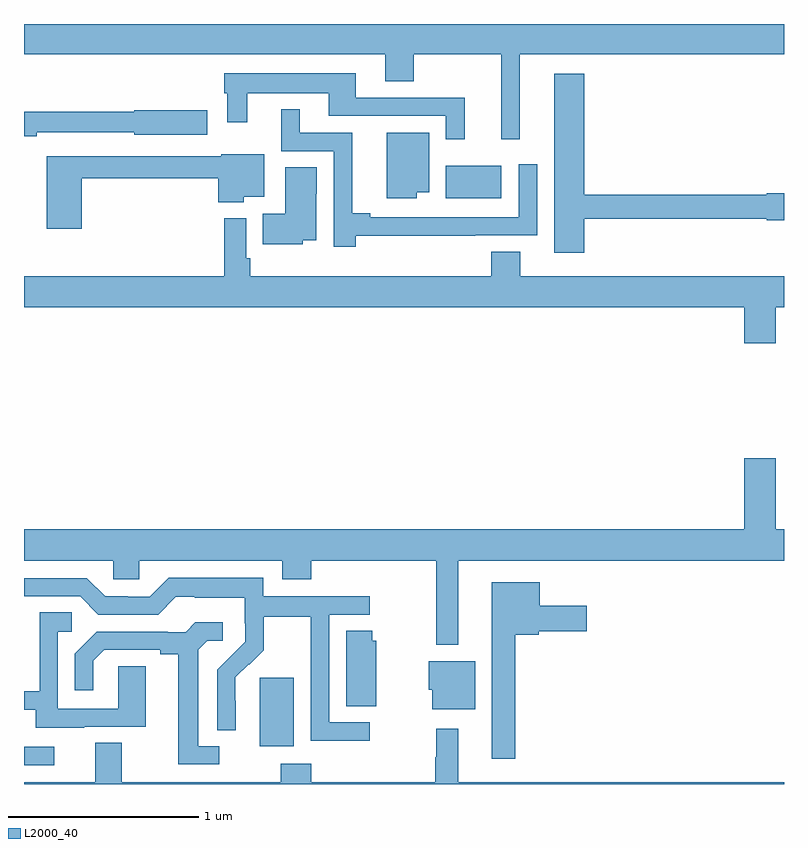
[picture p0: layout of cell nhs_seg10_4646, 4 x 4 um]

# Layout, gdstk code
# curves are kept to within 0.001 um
import gdstk
lib = gdstk.Library(unit=1e-6, precision=1e-09)
def R(c, l, rs):  # rectangles x0, y0, x1, y1
    for r in rs: c.add(gdstk.rectangle(r[:2], r[2:], *l))
def P(c, l, *ps):  # polygons
    for p in ps: c.add(gdstk.Polygon(p, *l))
L2000_40 = (2000, 40)

nhs_seg10_4646 = lib.new_cell('nhs_seg10_4646')
R(nhs_seg10_4646, L2000_40, [(377,1272.6,377.158,1272.696), (378.242,1272.698,378.421,1273.059), (379.22,1275.584,379.513,1275.754)])
P(nhs_seg10_4646, L2000_40, [(379.61,1276.34),(381,1276.34),(381,1276.5),(377,1276.5),(377,1276.34),(378.902,1276.34),(378.902,1276.198),(379.05,1276.198),(379.05,1276.34),(379.511,1276.34),(379.511,1275.894),(379.61,1275.894)],
  [(379.319,1276.113),(378.745,1276.113),(378.745,1276.24),(378.054,1276.24),(378.054,1276.135),(378.071,1276.135),(378.071,1275.984),(378.175,1275.984),(378.175,1276.136),(378.605,1276.136),(378.605,1276.017),(379.221,1276.017),(379.221,1275.894),(379.319,1275.894)],
  [(379.949,1275.474),(380.91,1275.474),(380.91,1275.466),(381,1275.466),(381,1275.608),(380.91,1275.608),(380.91,1275.602),(379.949,1275.602),(379.949,1276.237),(379.79,1276.237),(379.79,1275.297),(379.949,1275.297)],
  [(378.746,1275.386),(379.376,1275.386),(379.376,1275.387),(379.701,1275.387),(379.701,1275.763),(379.605,1275.763),(379.605,1275.483),(378.823,1275.483),(378.823,1275.503),(378.728,1275.503),(378.728,1275.927),(378.451,1275.927),(378.451,1276.051),(378.353,1276.051),(378.353,1275.831),(378.63,1275.831),(378.63,1275.327),(378.746,1275.327)],
  [(377.066,1275.93),(377.58,1275.93),(377.58,1275.917),(377.965,1275.917),(377.965,1276.047),(377.58,1276.047),(377.58,1276.039),(377,1276.039),(377,1275.91),(377.066,1275.91)],
  [(379.066,1275.614),(379.132,1275.614),(379.132,1275.928),(378.908,1275.928),(378.908,1275.584),(379.066,1275.584)],
  [(377.303,1275.688),(378.023,1275.688),(378.023,1275.563),(378.156,1275.563),(378.156,1275.59),(378.265,1275.59),(378.265,1275.814),(378.039,1275.814),(378.039,1275.804),(377.12,1275.804),(377.12,1275.423),(377.303,1275.423)],
  [(378.468,1275.362),(378.538,1275.362),(378.538,1275.606),(378.541,1275.606),(378.541,1275.746),(378.374,1275.746),(378.374,1275.502),(378.256,1275.502),(378.256,1275.341),(378.468,1275.341)],
  [(380.956,1275.008),(381,1275.008),(381,1275.172),(379.612,1275.172),(379.612,1275.302),(379.46,1275.302),(379.46,1275.172),(378.191,1275.172),(378.191,1275.268),(378.171,1275.268),(378.171,1275.478),(378.055,1275.478),(378.055,1275.172),(377,1275.172),(377,1275.008),(380.792,1275.008),(380.792,1274.82),(380.956,1274.82)],
  [(379.285,1273.676),(381,1273.676),(381,1273.84),(380.956,1273.84),(380.956,1274.215),(380.792,1274.215),(380.792,1273.84),(377,1273.84),(377,1273.676),(377.469,1273.676),(377.469,1273.578),(377.607,1273.578),(377.607,1273.676),(378.359,1273.676),(378.359,1273.577),(378.512,1273.577),(378.512,1273.676),(379.171,1273.676),(379.171,1273.232),(379.285,1273.232)],
  [(378.82,1272.825),(378.606,1272.825),(378.606,1273.392),(378.82,1273.392),(378.82,1273.488),(378.258,1273.488),(378.258,1273.585),(377.761,1273.585),(377.661,1273.485),(377.546,1273.485),(377.546,1273.488),(377.427,1273.488),(377.331,1273.584),(377,1273.584),(377,1273.488),(377.295,1273.488),(377.391,1273.392),(377.706,1273.392),(377.799,1273.485),(377.899,1273.485),(377.899,1273.481),(378.162,1273.481),(378.162,1273.347),(378.164,1273.347),(378.164,1273.25),(378.018,1273.102),(378.018,1272.784),(378.114,1272.784),(378.113,1273.061),(378.183,1273.131),(378.186,1273.128),(378.263,1273.205),(378.263,1273.38),(378.508,1273.38),(378.508,1273.156),(378.51,1273.156),(378.51,1272.727),(378.82,1272.727)],
  [(379.585,1273.286),(379.71,1273.286),(379.71,1273.304),(379.963,1273.304),(379.963,1273.438),(379.714,1273.438),(379.714,1273.561),(379.463,1273.561),(379.463,1272.633),(379.585,1272.633)],
  [(377.317,1272.801),(377.641,1272.801),(377.641,1273.121),(377.496,1273.121),(377.496,1272.897),(377.178,1272.897),(377.178,1273.302),(377.251,1273.302),(377.251,1273.403),(377.082,1273.403),(377.082,1272.987),(377,1272.987),(377,1272.891),(377.063,1272.891),(377.063,1272.797),(377.317,1272.797)],
  [(378.028,1272.699),(377.917,1272.699),(377.917,1273.207),(377.964,1273.254),(378.046,1273.254),(378.046,1273.351),(377.902,1273.351),(377.85,1273.299),(377.756,1273.299),(377.756,1273.302),(377.384,1273.302),(377.268,1273.186),(377.268,1272.993),(377.365,1272.993),(377.365,1273.149),(377.422,1273.206),(377.717,1273.206),(377.717,1273.184),(377.813,1273.184),(377.813,1272.603),(378.028,1272.603)],
  [(378.853,1273.254),(378.834,1273.254),(378.834,1273.307),(378.695,1273.307),(378.695,1272.91),(378.853,1272.91)],
  [(379.375,1273.147),(379.13,1273.147),(379.13,1272.996),(379.148,1272.996),(379.148,1272.893),(379.375,1272.893)],
  [(381,1272.508),(379.285,1272.508),(379.285,1272.79),(379.171,1272.79),(379.171,1272.641),(379.164,1272.641),(379.164,1272.508),(378.512,1272.508),(378.512,1272.607),(378.352,1272.607),(378.352,1272.508),(377.515,1272.508),(377.515,1272.716),(377.375,1272.716),(377.375,1272.508),(377,1272.508),(377,1272.5),(381,1272.5)])

lib.write_gds('nhs_seg10_4646.gds')
